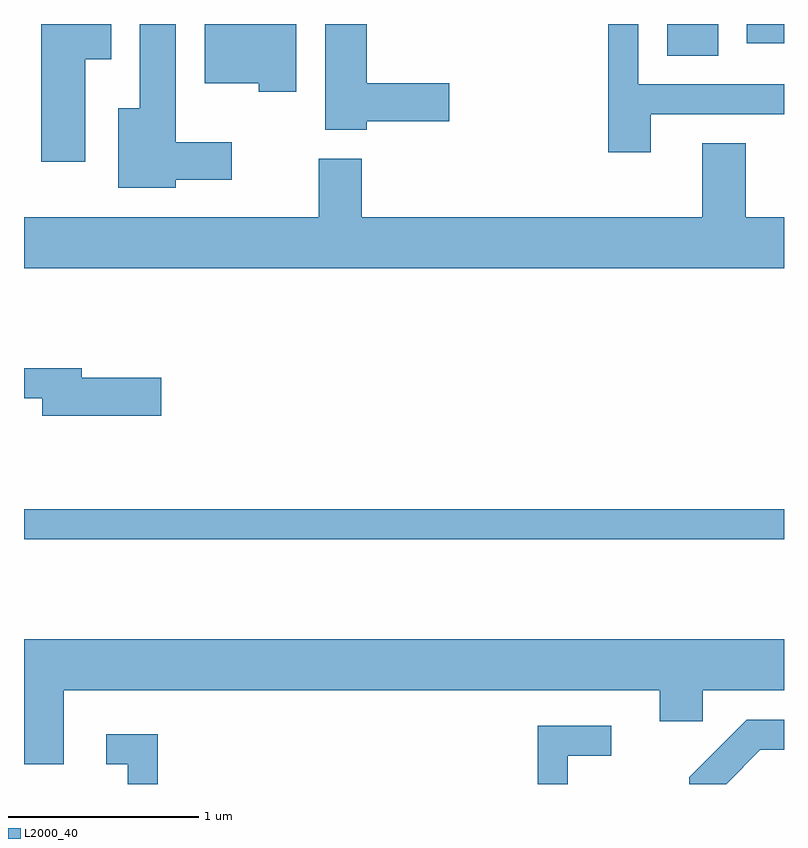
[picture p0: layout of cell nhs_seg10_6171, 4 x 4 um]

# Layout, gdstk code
import gdstk
lib = gdstk.Library(unit=1e-6, precision=1e-09)
def R(c, l, rs):  # rectangles x0, y0, x1, y1
    for r in rs: c.add(gdstk.rectangle(r[:2], r[2:], *l))
def P(c, l, *ps):  # polygons
    for p in ps: c.add(gdstk.Polygon(p, *l))
L2000_40 = (2000, 40)

nhs_seg10_6171 = lib.new_cell('nhs_seg10_6171')
R(nhs_seg10_6171, L2000_40, [(367.611,2125.811,371.611,2125.969), (370.996,2128.356,371.264,2128.522), (371.416,2128.421,371.611,2128.522)])
P(nhs_seg10_6171, L2000_40, [(370.909,2128.046),(371.611,2128.046),(371.611,2128.204),(370.844,2128.204),(370.844,2128.522),(370.686,2128.522),(370.686,2127.846),(370.909,2127.846)],
  [(368.409,2127.701),(368.704,2127.701),(368.704,2127.899),(368.409,2127.899),(368.409,2128.522),(368.221,2128.522),(368.221,2128.079),(368.106,2128.079),(368.106,2127.661),(368.409,2127.661)],
  [(369.414,2128.011),(369.849,2128.011),(369.849,2128.209),(369.414,2128.209),(369.414,2128.522),(369.196,2128.522),(369.196,2127.966),(369.414,2127.966)],
  [(367.934,2128.336),(368.069,2128.336),(368.069,2128.522),(367.701,2128.522),(367.701,2127.796),(367.934,2127.796)],
  [(369.044,2128.522),(368.561,2128.522),(368.561,2128.211),(368.846,2128.211),(368.846,2128.166),(369.044,2128.166)],
  [(371.611,2127.504),(371.409,2127.504),(371.409,2127.894),(371.181,2127.894),(371.181,2127.504),(369.389,2127.504),(369.389,2127.814),(369.161,2127.814),(369.161,2127.504),(367.611,2127.504),(367.611,2127.236),(371.611,2127.236)],
  [(368.334,2126.659),(367.914,2126.659),(367.914,2126.709),(367.611,2126.709),(367.611,2126.551),(367.706,2126.551),(367.706,2126.461),(368.334,2126.461)],
  [(367.819,2125.016),(370.956,2125.016),(370.956,2124.851),(371.184,2124.851),(371.184,2125.016),(371.611,2125.016),(371.611,2125.284),(367.611,2125.284),(367.611,2124.626),(367.819,2124.626)],
  [(371.487,2124.701),(371.611,2124.701),(371.611,2124.859),(371.414,2124.859),(371.111,2124.557),(371.111,2124.522),(371.307,2124.522)],
  [(370.474,2124.671),(370.703,2124.671),(370.703,2124.829),(370.316,2124.829),(370.316,2124.522),(370.474,2124.522)],
  [(368.314,2124.784),(368.043,2124.784),(368.043,2124.626),(368.156,2124.626),(368.156,2124.522),(368.314,2124.522)])

lib.write_gds('nhs_seg10_6171.gds')
